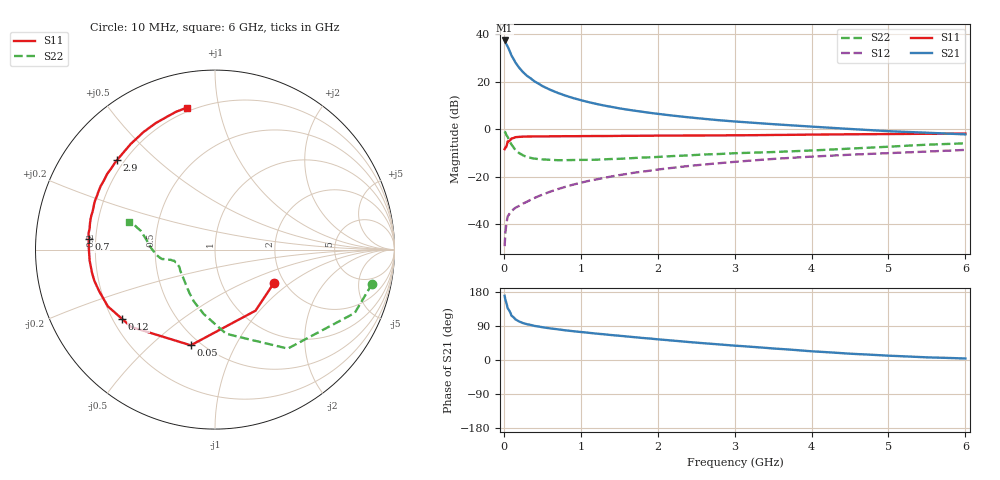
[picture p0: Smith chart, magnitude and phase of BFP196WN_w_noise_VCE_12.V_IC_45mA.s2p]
! Infineon Technologies  Discrete & RF Semiconductors
! BFP196WN
! VCE =  12. V,  IC =  45 mA
! Common Emitter S-Parameters:  Jan 2017
# GHz  S  MA  R  50
!  f  S11  S21  S12  S22
! GHz  MAG  ANG  MAG  ANG  MAG  ANG  MAG  ANG
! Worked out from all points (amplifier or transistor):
!   77 points, 10 MHz to 6 GHz, reference 50 ohm
!   highest |S21| = 37.4 dB at 10 MHz (marker M1)
!   |S21| within 3 dB of that: start of sweep to 55.84 MHz
!   unconditionally stable (mu >= 1): 696 MHz to 2.703 GHz
!   at 130 MHz: K = 0.49, MSG = 31.5 dB, |S12| = -33.7 dB
!   at 2.2 GHz: K = 1.02, MAG = 10.1 dB, |S12| = -16.3 dB
!   at 6 GHz: K = 0.89, MSG = 3.3 dB, |S12| = -8.8 dB
!   lowest NFmin = 1.22 dB at 450 MHz
!   S11 on the Smith chart (normalised r, x): 10 MHz: 1.78, -0.76; 50 MHz: 0.44, -0.68; 120 MHz: 0.24, -0.31; 700 MHz: 0.17, +0.04; 2.9 GHz: 0.17, +0.38; 6 GHz: 0.18, +0.81
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0.01  0.3774 -29.1  74.06 169.6  0.0034 67.4  0.8963 -12.2
0.02  0.4084 -56.4  68.74 159.1  0.0065 69.8  0.8548 -24.4
0.05  0.5501 -104.2  54.96 136.4  0.0144 56.3  0.6846 -53.7
0.1  0.6354 -137.3  35.44 116.8  0.0187 47.4  0.4728 -82.5
0.12  0.6462 -143.4  31.36 113.7  0.02 46.4  0.4248 -88.4
0.15  0.6755 -152.1  25.48 107.3  0.0219 45.1  0.3641 -100.0
0.2  0.6855 -160.1  19.59 101.5  0.0241 48.6  0.3115 -112.3
0.25  0.6944 -165.5  15.89 97.4  0.0269 49.9  0.2799 -120.7
0.3  0.6974 -169.5  13.34 94.5  0.0294 52.6  0.2577 -128.1
0.4  0.7011 -175.0  10.12 89.9  0.0354 57.2  0.2382 -137.4
0.5  0.7019 -179.0  8.116 86.5  0.0414 60.5  0.2302 -144.5
0.6  0.7044 177.8  6.784 83.5  0.0478 62.6  0.2253 -149.7
0.7  0.7054 175.2  5.813 81.0  0.0542 64.4  0.2212 -152.9
0.9  0.7085 170.3  4.523 76.0  0.0674 65.7  0.223 -157.4
1.1  0.7138 166.3  3.711 71.9  0.0808 66.6  0.2247 -160.8
1.5  0.7197 159.3  2.743 64.0  0.107 65.9  0.2363 -164.9
2.1  0.7286 149.5  2.011 52.9  0.1466 63.3  0.2646 -167.8
2.9  0.7392 137.5  1.493 39.5  0.1975 57.8  0.3044 -170.7
3.1  0.7421 134.5  1.412 36.6  0.2101 56.2  0.3137 -172.3
4.1  0.7682 120.0  1.104 21.8  0.2679 48.3  0.3605 177.4
5.1  0.7886 109.2  0.891 10.6  0.3161 40.9  0.4342 165.3
6  0.8066 101.2  0.774 4.0  0.3646 34.9  0.5013 162.0
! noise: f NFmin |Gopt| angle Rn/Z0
0.45  1.22  0.52  -178  0.05
0.9  1.34  0.55  -172  0.05
1.9  2.26  0.68  -148  0.14
2.4  2.99  0.69  -141  0.27
